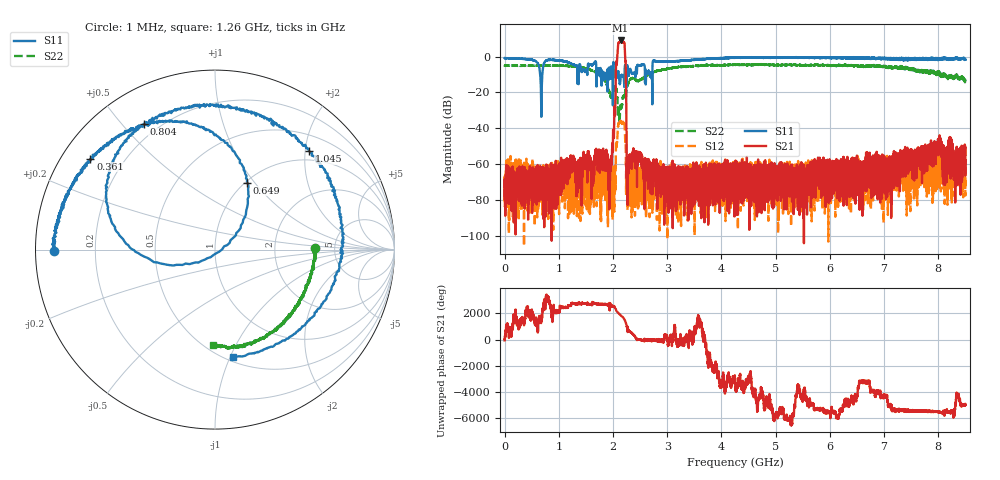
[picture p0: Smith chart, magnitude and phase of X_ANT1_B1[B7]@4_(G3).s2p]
#  HZ  S  RI  R  50.00
! Rohde & Schwarz Vector Network Analyzer
! Rohde-Schwarz,ZNBT8-20Port,1318700624101681,3.50
! Created: UTC 7/15/2025, 2:14:02 PM
! freq[Hz]  re:S1010  im:S1010  re:S0410  im:S0410  re:S1004  im:S1004  re:S44  im:S44
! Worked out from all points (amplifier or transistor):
!   8500 points, 1 MHz to 8.5 GHz, reference 50 ohm
!   highest |S21| = 8.9 dB at 2.14 GHz (marker M1)
!   |S21| within 3 dB of that: 2.093 GHz to 2.215 GHz (121.9 MHz wide, 5.66 % of centre)
!   unconditionally stable (mu >= 1): start of sweep to end of sweep
!   at 1.417 GHz: K = 3586740.77, MAG = -60.0 dB, |S12| = -79.1 dB
!   at 4.251 GHz: K = 1041597.86, MAG = -65.4 dB, |S12| = -71.4 dB
!   at 8.5 GHz: K = 174420.85, MAG = -52.8 dB, |S12| = -62.9 dB
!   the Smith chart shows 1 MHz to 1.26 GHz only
!   S11 on the Smith chart (normalised r, x): 1 MHz: 0.05, -0.00; 361 MHz: 0.08, +0.32; 649 MHz: 1.02, +0.92; 804 MHz: 0.15, +0.57; 1.045 GHz: 0.80, +2.08; 1.26 GHz: 0.54, -1.02
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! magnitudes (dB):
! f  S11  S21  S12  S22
! 1 MHz  -0.9  -72.5  -67.2  -5.1
! 361 MHz  -1.3  -66.5  -62.7  -5.1
! 649 MHz  -7.6  -66.6  -70.6  -5.1
! 804 MHz  -1.9  -68.5  -63.9  -5.1
! 1.045 GHz  -2.4  -63.5  -65.0  -5.1
! 1.26 GHz  -4.3  -59.2  -72.0  -5.5
! 1.418 GHz  -8.3  -65.0  -72.5  -6.2
! 1.953 GHz  -7.4  -59.3  -68.1  -21.7
! 2.01 GHz  -3.3  -42.3  -68.3  -18.5
! 2.089 GHz  -9.5  4.2  -40.7  -28.6
! 2.14 GHz  -12.2  8.9  -35.9  -27.6
! 2.205 GHz  -14.6  7.7  -37.2  -21.5
! 2.293 GHz  -10.1  -57.2  -67.8  -13.9
! 2.834 GHz  -2.8  -76.4  -73.1  -7.9
! 4.251 GHz  -0.7  -75.7  -71.4  -4.6
! 5.667 GHz  -0.4  -59.8  -62.9  -4.6
! 7.084 GHz  -1.1  -64.5  -59.0  -5.5
! 8.016 GHz  -1.4  -51.5  -60.4  -9.6
! 8.117 GHz  -0.7  -62.3  -55.2  -9.8
! 8.226 GHz  -1.3  -45.1  -58.6  -11.3
! 8.314 GHz  -1.1  -57.0  -56.3  -11.1
! 8.5 GHz  -1.8  -57.7  -62.9  -13.2
